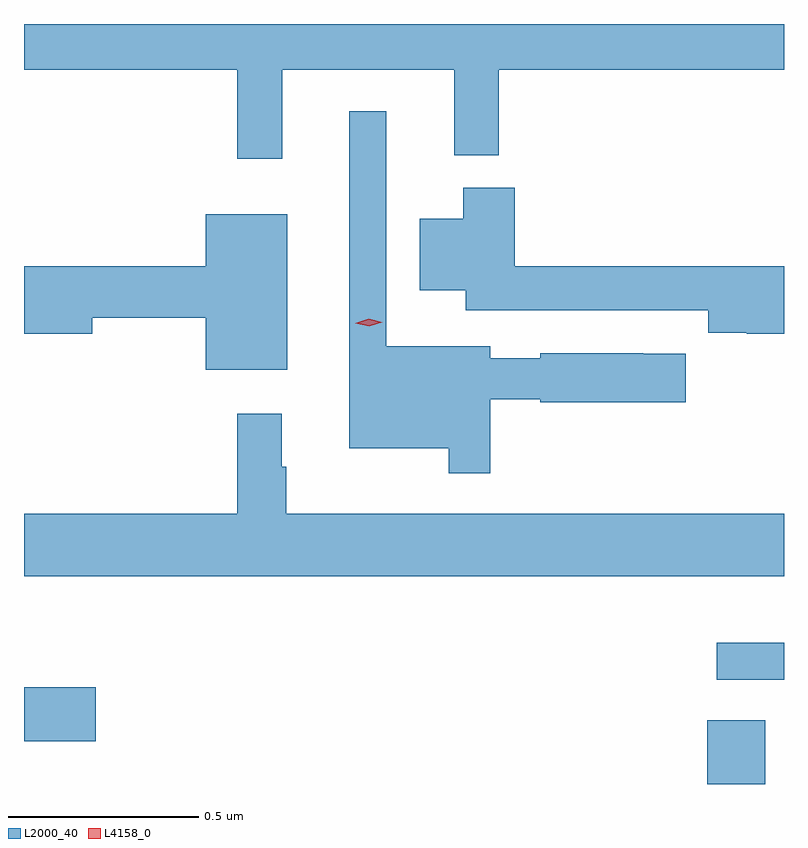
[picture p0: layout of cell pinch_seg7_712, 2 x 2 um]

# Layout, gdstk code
import gdstk
lib = gdstk.Library(unit=1e-6, precision=1e-09)
def R(c, l, rs):  # rectangles x0, y0, x1, y1
    for r in rs: c.add(gdstk.rectangle(r[:2], r[2:], *l))
def P(c, l, *ps):  # polygons
    for p in ps: c.add(gdstk.Polygon(p, *l))
L2000_40 = (2000, 40)
L4158_0 = (4158, 0)

pinch_seg7_712 = lib.new_cell('pinch_seg7_712')
R(pinch_seg7_712, L2000_40, [(231.944,1014.721,232.096,1014.889), (230.146,1014.833,230.335,1014.975), (231.969,1014.996,232.146,1015.093)])
P(pinch_seg7_712, L2000_40, [(230.825,1016.6),(231.278,1016.6),(231.278,1016.375),(231.395,1016.375),(231.395,1016.6),(232.146,1016.6),(232.146,1016.721),(230.146,1016.721),(230.146,1016.6),(230.707,1016.6),(230.707,1016.367),(230.825,1016.367)],
  [(231.373,1015.734),(231.504,1015.734),(231.504,1015.726),(231.887,1015.726),(231.887,1015.853),(231.776,1015.853),(231.776,1015.855),(231.504,1015.855),(231.504,1015.842),(231.373,1015.842),(231.373,1015.873),(231.099,1015.873),(231.099,1016.491),(231.002,1016.491),(231.002,1015.604),(231.264,1015.604),(231.264,1015.539),(231.373,1015.539)],
  [(232.146,1016.084),(231.437,1016.084),(231.437,1016.29),(231.302,1016.29),(231.302,1016.209),(231.188,1016.209),(231.188,1016.021),(231.308,1016.021),(231.308,1015.968),(231.947,1015.968),(231.947,1015.908),(232.048,1015.908),(232.048,1015.906),(232.146,1015.906)],
  [(230.839,1016.221),(230.624,1016.221),(230.624,1016.084),(230.146,1016.084),(230.146,1015.906),(230.326,1015.906),(230.326,1015.948),(230.624,1015.948),(230.624,1015.811),(230.839,1015.811)],
  [(232.146,1015.432),(230.836,1015.432),(230.836,1015.556),(230.824,1015.556),(230.824,1015.696),(230.707,1015.696),(230.707,1015.432),(230.146,1015.432),(230.146,1015.268),(232.146,1015.268)])
P(pinch_seg7_712, L4158_0, [(231.054,1015.925),(231.018,1015.933),(231.018,1015.933),(231.018,1015.934),(231.053,1015.945),(231.089,1015.936),(231.089,1015.936),(231.089,1015.936)])

lib.write_gds('pinch_seg7_712.gds')
